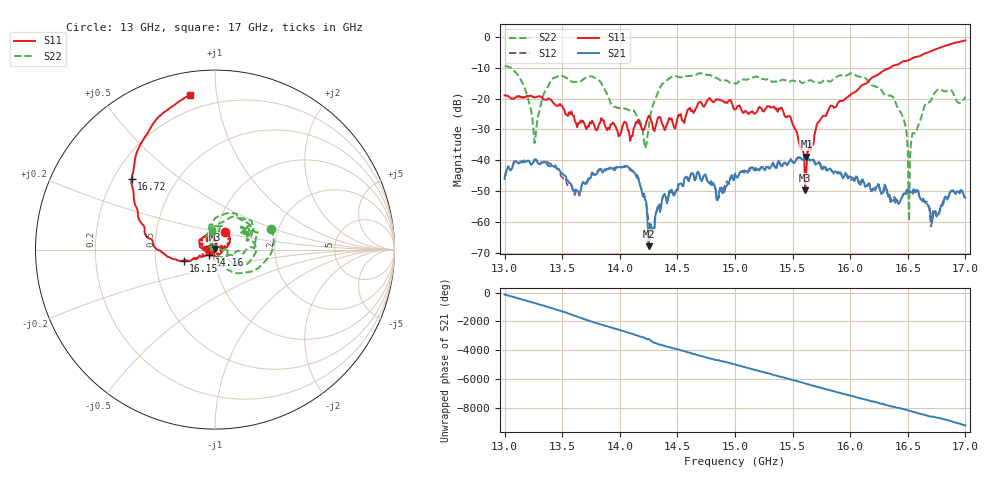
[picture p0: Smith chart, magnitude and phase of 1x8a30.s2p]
!Keysight Technologies,P9374A,MY57211807,A.19.30.04
!Date: Friday, May 08, 2026 14:12:59
!Correction: S11(C  2-Port  )
!S21(C  2-Port  )
!S12(C  2-Port  )
!S22(C  2-Port  )
!S2P File: Measurements: S11, S21, S12, S22:
# Hz S  dB  R 50
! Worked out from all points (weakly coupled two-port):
!   401 points, 13 GHz to 17 GHz, reference 50 ohm
!   highest |S21| = -38.80 dB at 15.62 GHz (marker M1); lowest = -67.8 dB at 14.25 GHz (marker M2)
!   lowest |S11| = -49.7 dB at 15.61 GHz (marker M3), VSWR 1.01, Z = 50.1 + j0.301 ohm
!   |S11| at or under -10 dB: start of sweep to 16.35 GHz
!   |S22| runs from -59.7 to -9.5 dB; largest |S21 - S12| = 0.0014
!   S11 on the Smith chart (normalised r, x): 13 GHz: 1.10, +0.22; 14.16 GHz: 0.93, -0.06; 16.15 GHz: 0.70, -0.09; 16.72 GHz: 0.27, +0.34; 17 GHz: 0.12, +0.84
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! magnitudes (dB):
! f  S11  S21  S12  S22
! 13 GHz  -18.9  -46.0  -45.6  -9.5
! 13.16 GHz  -19.8  -40.7  -40.4  -15.3
! 13.26 GHz  -19.7  -39.7  -39.9  -34.4
! 13.41 GHz  -20.7  -41.7  -41.2  -13.7
! 13.67 GHz  -27.7  -48.0  -47.8  -14.1
! 14.16 GHz  -26.9  -45.6  -45.7  -26.6
! 14.25 GHz  -25.5  -67.8  -59.4  -29.4
! 14.34 GHz  -26.0  -54.4  -54.0  -17.1
! 14.62 GHz  -24.0  -44.3  -44.1  -12.6
! 14.85 GHz  -20.4  -52.9  -52.4  -13.5
! 15 GHz  -23.5  -44.3  -44.7  -15.1
! 15.4 GHz  -22.9  -41.9  -41.7  -14.0
! 15.61 GHz  -49.7  -39.3  -39.6  -14.7
! 15.62 GHz  -42.8  -38.8  -39.2  -14.6
! 15.67 GHz  -34.6  -39.9  -40.2  -14.3
! 16.15 GHz  -14.7  -47.9  -48.3  -14.0
! 16.34 GHz  -10.2  -51.1  -51.7  -19.0
! 16.46 GHz  -7.9  -51.1  -51.1  -26.2
! 16.52 GHz  -7.4  -50.2  -50.0  -38.1
! 16.55 GHz  -6.7  -49.3  -50.0  -31.1
! 16.72 GHz  -4.3  -57.6  -56.1  -19.0
! 17 GHz  -1.2  -52.2  -51.8  -19.4
